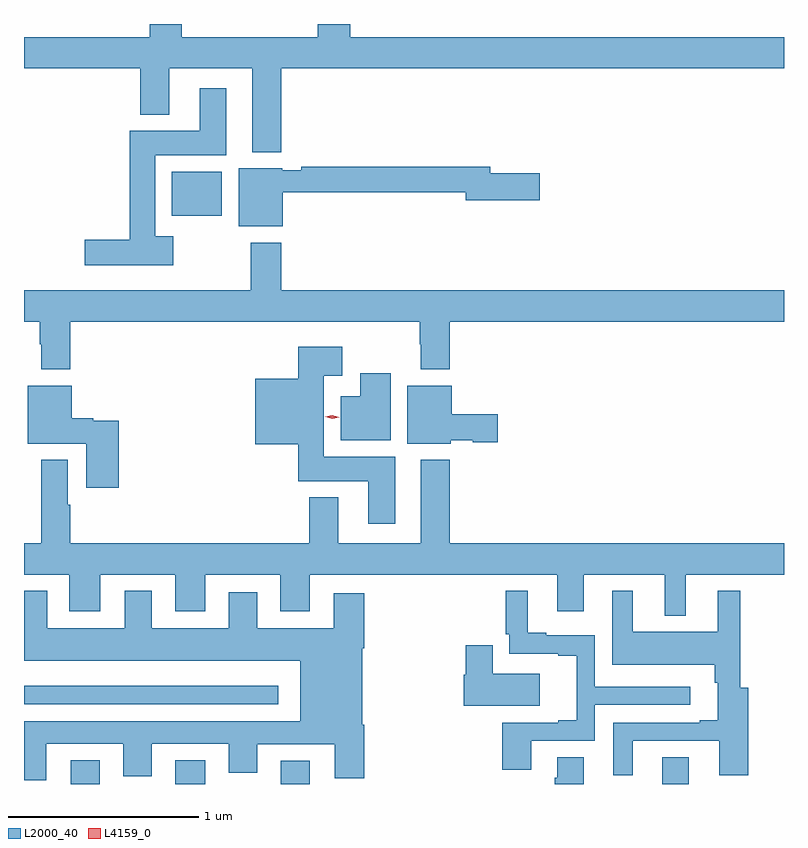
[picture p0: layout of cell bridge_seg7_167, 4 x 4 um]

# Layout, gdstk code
import gdstk
lib = gdstk.Library(unit=1e-6, precision=1e-09)
def R(c, l, rs):  # rectangles x0, y0, x1, y1
    for r in rs: c.add(gdstk.rectangle(r[:2], r[2:], *l))
def P(c, l, *ps):  # polygons
    for p in ps: c.add(gdstk.Polygon(p, *l))
L2000_40 = (2000, 40)
L4159_0 = (4159, 0)

bridge_seg7_167 = lib.new_cell('bridge_seg7_167')
R(bridge_seg7_167, L2000_40, [(456.305,1038.142,456.457,1038.268), (456.854,1038.142,457.012,1038.268), (457.409,1038.142,457.561,1038.265), (459.416,1038.142,459.556,1038.284), (456.058,1038.561,457.396,1038.658), (456.836,1041.134,457.099,1041.364)])
P(bridge_seg7_167, L2000_40, [(457.412,1041.908),(460.058,1041.908),(460.058,1042.072),(457.775,1042.072),(457.775,1042.142),(457.604,1042.142),(457.604,1042.072),(456.887,1042.072),(456.887,1042.142),(456.721,1042.142),(456.721,1042.072),(456.058,1042.072),(456.058,1041.908),(456.671,1041.908),(456.671,1041.665),(456.823,1041.665),(456.823,1041.908),(457.259,1041.908),(457.259,1041.467),(457.412,1041.467)],
  [(456.844,1041.025),(456.748,1041.025),(456.748,1041.452),(457.123,1041.452),(457.123,1041.805),(456.983,1041.805),(456.983,1041.58),(456.614,1041.58),(456.614,1041.007),(456.378,1041.007),(456.378,1040.873),(456.844,1040.873)],
  [(457.42,1041.256),(458.384,1041.256),(458.384,1041.214),(458.773,1041.214),(458.773,1041.356),(458.512,1041.356),(458.512,1041.392),(457.516,1041.392),(457.516,1041.372),(457.416,1041.372),(457.416,1041.382),(457.187,1041.382),(457.187,1041.077),(457.42,1041.077)],
  [(456.302,1040.576),(458.14,1040.576),(458.14,1040.456),(458.147,1040.456),(458.147,1040.324),(458.3,1040.324),(458.3,1040.576),(460.058,1040.576),(460.058,1040.74),(457.412,1040.74),(457.412,1040.992),(457.252,1040.992),(457.252,1040.74),(456.058,1040.74),(456.058,1040.576),(456.142,1040.576),(456.142,1040.456),(456.149,1040.456),(456.149,1040.324),(456.302,1040.324)],
  [(458.011,1039.864),(457.636,1039.864),(457.636,1040.291),(457.732,1040.291),(457.732,1040.443),(457.502,1040.443),(457.502,1040.275),(457.274,1040.275),(457.274,1039.931),(457.502,1039.931),(457.502,1039.736),(457.871,1039.736),(457.871,1039.512),(458.011,1039.512)],
  [(457.987,1040.305),(457.829,1040.305),(457.829,1040.182),(457.724,1040.182),(457.724,1039.952),(457.987,1039.952)],
  [(458.304,1039.952),(458.421,1039.952),(458.421,1039.94),(458.551,1039.94),(458.551,1040.087),(458.308,1040.087),(458.308,1040.239),(458.075,1040.239),(458.075,1039.934),(458.304,1039.934)],
  [(456.557,1040.053),(456.423,1040.053),(456.423,1040.066),(456.31,1040.066),(456.31,1040.239),(456.077,1040.239),(456.077,1039.934),(456.386,1039.934),(456.386,1039.701),(456.557,1039.701)],
  [(457.559,1039.651),(457.559,1039.408),(456.302,1039.408),(456.302,1039.613),(456.289,1039.613),(456.289,1039.849),(456.149,1039.849),(456.149,1039.408),(456.058,1039.408),(456.058,1039.244),(456.296,1039.244),(456.296,1039.05),(456.46,1039.05),(456.46,1039.244),(456.854,1039.244),(456.854,1039.05),(457.012,1039.05),(457.012,1039.244),(457.406,1039.244),(457.406,1039.05),(457.561,1039.05),(457.561,1039.244),(458.864,1039.244),(458.864,1039.05),(459.004,1039.05),(459.004,1039.244),(459.431,1039.244),(459.431,1039.028),(459.541,1039.028),(459.541,1039.244),(460.058,1039.244),(460.058,1039.408),(458.3,1039.408),(458.3,1039.849),(458.147,1039.849),(458.147,1039.408),(457.711,1039.408),(457.711,1039.651)],
  [(459.262,1038.369),(459.716,1038.369),(459.716,1038.189),(459.869,1038.189),(459.869,1038.649),(459.829,1038.649),(459.829,1039.159),(459.71,1039.159),(459.71,1038.943),(459.262,1038.943),(459.262,1039.159),(459.155,1039.159),(459.155,1038.77),(459.693,1038.77),(459.693,1038.674),(459.71,1038.674),(459.71,1038.478),(459.614,1038.478),(459.614,1038.465),(459.158,1038.465),(459.158,1038.189),(459.262,1038.189)],
  [(458.728,1038.369),(459.063,1038.369),(459.063,1038.558),(459.565,1038.558),(459.565,1038.654),(459.063,1038.654),(459.063,1038.924),(458.806,1038.924),(458.806,1038.937),(458.71,1038.937),(458.71,1039.159),(458.593,1039.159),(458.593,1038.931),(458.613,1038.931),(458.613,1038.828),(458.87,1038.828),(458.87,1038.816),(458.966,1038.816),(458.966,1038.478),(458.87,1038.478),(458.87,1038.465),(458.576,1038.465),(458.576,1038.216),(458.728,1038.216)],
  [(456.175,1038.353),(456.581,1038.353),(456.581,1038.183),(456.73,1038.183),(456.73,1038.353),(457.136,1038.353),(457.136,1038.201),(457.285,1038.201),(457.285,1038.35),(457.694,1038.35),(457.694,1038.171),(457.85,1038.171),(457.85,1038.454),(457.837,1038.454),(457.837,1038.857),(457.85,1038.857),(457.85,1039.147),(457.688,1039.147),(457.688,1038.961),(457.285,1038.961),(457.285,1039.15),(457.136,1039.15),(457.136,1038.961),(456.73,1038.961),(456.73,1039.159),(456.587,1039.159),(456.587,1038.961),(456.181,1038.961),(456.181,1039.159),(456.058,1039.159),(456.058,1038.791),(457.511,1038.791),(457.511,1038.472),(456.058,1038.472),(456.058,1038.161),(456.175,1038.161)],
  [(458.773,1038.721),(458.524,1038.721),(458.524,1038.871),(458.384,1038.871),(458.384,1038.717),(458.372,1038.717),(458.372,1038.554),(458.773,1038.554)],
  [(459.004,1038.284),(458.864,1038.284),(458.864,1038.174),(458.852,1038.174),(458.852,1038.142),(459.004,1038.142)])
P(bridge_seg7_167, L4159_0, [(457.681,1040.064),(457.644,1040.074),(457.644,1040.075),(457.644,1040.075),(457.681,1040.084),(457.718,1040.073),(457.718,1040.073),(457.718,1040.073)])

lib.write_gds('bridge_seg7_167.gds')
